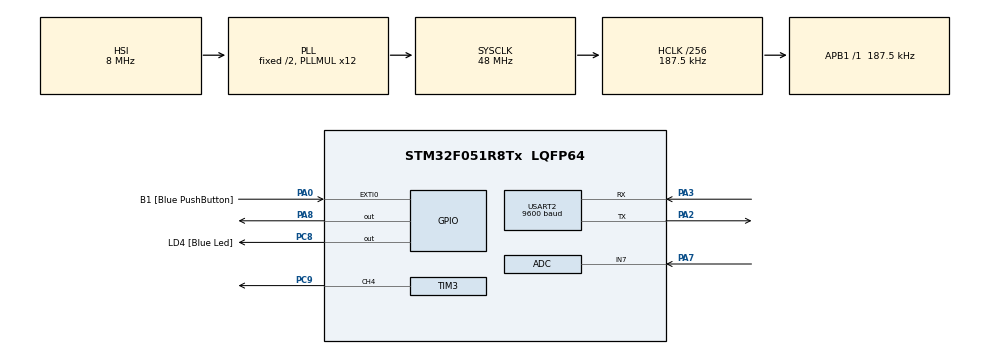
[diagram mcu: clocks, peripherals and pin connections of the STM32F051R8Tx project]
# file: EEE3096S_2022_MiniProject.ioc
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Dma.ADC.1.Direction=DMA_PERIPH_TO_MEMORY
Dma.ADC.1.Instance=DMA1_Channel1
Dma.ADC.1.MemDataAlignment=DMA_MDATAALIGN_HALFWORD
Dma.ADC.1.MemInc=DMA_MINC_ENABLE
Dma.ADC.1.Mode=DMA_NORMAL
Dma.ADC.1.PeriphDataAlignment=DMA_PDATAALIGN_HALFWORD
Dma.ADC.1.PeriphInc=DMA_PINC_DISABLE
Dma.ADC.1.Priority=DMA_PRIORITY_LOW
Dma.Request0=USART2_TX
Dma.Request1=ADC
Dma.USART2_TX.0.Direction=DMA_MEMORY_TO_PERIPH
Dma.USART2_TX.0.Instance=DMA1_Channel4
Dma.USART2_TX.0.MemDataAlignment=DMA_MDATAALIGN_BYTE
Dma.USART2_TX.0.MemInc=DMA_MINC_ENABLE
Dma.USART2_TX.0.Mode=DMA_NORMAL
Dma.USART2_TX.0.PeriphDataAlignment=DMA_PDATAALIGN_BYTE
Dma.USART2_TX.0.PeriphInc=DMA_PINC_DISABLE
Dma.USART2_TX.0.Priority=DMA_PRIORITY_LOW
Mcu.Family=STM32F0
Mcu.Name=STM32F051R8Tx
Mcu.Package=LQFP64
NVIC.ADC1_COMP_IRQn=true\:0\:0\:false\:false\:true\:true\:true\:true
NVIC.DMA1_Channel1_IRQn=true\:0\:0\:false\:false\:true\:false\:true\:true
NVIC.DMA1_Channel4_5_IRQn=true\:0\:0\:false\:false\:true\:false\:true\:true
NVIC.EXTI0_1_IRQn=true\:0\:0\:false\:false\:true\:true\:true\:true
NVIC.USART2_IRQn=true\:0\:0\:false\:false\:true\:true\:true\:true
PA0.GPIO_Label=B1 [Blue PushButton]
PA0.GPIO_ModeDefaultEXTI=GPIO_MODE_IT_FALLING
PA0.Signal=GPXTI0
PA13.GPIO_Label=SWDIO
PA13.Mode=Serial_Wire
PA13.Signal=SYS_SWDIO
PA14.GPIO_Label=SWCLK
PA14.Mode=Serial_Wire
PA14.Signal=SYS_SWCLK
PA2.Mode=Asynchronous
PA2.Signal=USART2_TX
PA3.Mode=Asynchronous
PA3.Signal=USART2_RX
PA7.Mode=IN7
PA7.Signal=ADC_IN7
PA8.Signal=GPIO_Output
PB6.Signal=I2C1_SCL
PB7.Signal=I2C1_SDA
PC8.GPIO_Label=LD4 [Blue Led]
PC8.Signal=GPIO_Output
PC9.Signal=S_TIM3_CH4
PF0-OSC_IN.Mode=HSE-External-Oscillator
PF0-OSC_IN.Signal=RCC_OSC_IN
PF1-OSC_OUT.Mode=HSE-External-Oscillator
PF1-OSC_OUT.Signal=RCC_OSC_OUT
ProjectManager.HeapSize=0x200
ProjectManager.StackSize=0x400
ProjectManager.TargetToolchain=STM32CubeIDE
RCC.AHBCLKDivider=RCC_SYSCLK_DIV256
RCC.AHBFreq_Value=187500
RCC.APB1Freq_Value=187500
RCC.APB1TimFreq_Value=187500
RCC.HCLKFreq_Value=187500
RCC.PLLMUL=RCC_PLL_MUL12
RCC.SYSCLKFreq_VALUE=48000000
RCC.SYSCLKSource=RCC_SYSCLKSOURCE_PLLCLK
SH.S_TIM3_CH4.0=TIM3_CH4,PWM Generation4 CH4
TIM3.AutoReloadPreload=TIM_AUTORELOAD_PRELOAD_ENABLE
TIM3.Channel-PWM\ Generation4\ CH4=TIM_CHANNEL_4
TIM3.Period=47999
USART2.BaudRate=9600
USART2.VirtualMode-Asynchronous=VM_ASYNC
VP_TIM3_VS_ClockSourceINT.Mode=Internal
board=STM32F0DISCOVERY

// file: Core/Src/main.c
/* USER CODE BEGIN Header */
/**
*******************************************************
Info:		EEE3096S Mini Project Part A 2022
Author:		Ryan Jones, Natasha Soldin, Kamryn Norton, Khavish Govind
*******************************************************
In this practical you will learn to use the ADC on the STM32 using the HAL.
Here, we will be measuring the voltage on a potentiometer and using its value
to adjust the brightness of the on board LEDs. We set up an interrupt to switch the
display between the blue and green LEDs.

Code is also provided to send data from the STM32 to other devices using UART protocol
by using HAL. You will need Putty or a Python script to read from the serial port on your PC.

UART Connections are as follows: 5V->5V GND->GND RXD->PA2 TXD->PA3(unused).
Open device manager and go to Ports. Plug in the USB connector with the STM powered on.
Check the port number (COMx). Open up Putty and create a new Serial session on that COMx
with baud rate of 9600.
  ******************************************************************************
  */
/* USER CODE END Header */
#include "main.h"

 ADC_HandleTypeDef hadc;
DMA_HandleTypeDef hdma_adc;

TIM_HandleTypeDef htim3;

UART_HandleTypeDef huart2;
DMA_HandleTypeDef hdma_usart2_tx;

/* USER CODE BEGIN PV */
char buffer[24];

//TO DO:
//TASK 1
//Create global variables for debouncing and delay interval
int DELAY1 = 66; //Set initial delay to 1000ms = 1s
int DELAY2 = 2003;
int freq = 1;

/* USER CODE END PV */

void SystemClock_Config(void);
static void MX_GPIO_Init(void);
static void MX_DMA_Init(void);
static void MX_USART2_UART_Init(void);
static void MX_ADC_Init(void);
static void MX_TIM3_Init(void);
/* USER CODE BEGIN PFP */
void EXTI0_1_IRQHandler(void);
void pause_sec(float x);
uint32_t pollADC(void);
uint32_t ADCtoCRR(uint32_t adc_val);
uint8_t decToBcd(uint32_t val);
void setLEDonReceive(char num);

/* USER CODE END PFP */

int main(void)
{

  /* MCU Configuration--------------------------------------------------------*/

  /* Reset of all peripherals, Initializes the Flash interface and the Systick. */
  HAL_Init();

  /* Configure the system clock */
  SystemClock_Config();

  /* Initialize all configured peripherals */
  MX_GPIO_Init();
  MX_DMA_Init();
  MX_USART2_UART_Init();
  MX_ADC_Init();
  MX_TIM3_Init();
  /* USER CODE BEGIN 2 */

  //Create variables needed in while loop

  HAL_TIM_PWM_Start(&htim3, TIM_CHANNEL_4); //Start the PWM on TIM3 Channel 4 (Green LED)
  /* USER CODE END 2 */

  /* Infinite loop */
  /* USER CODE BEGIN WHILE */
  while (1)
  {

	  //Test the pollADC function and display it via UART
	  //ADC has a maximum value of 4095, which is a resolution of 12 bits
	  //pause_sec(2);
	  sprintf(buffer, "%ld\n\r",pollADC());
	  HAL_UART_Transmit(&huart2, buffer, sizeof(buffer), 1000);

	  sprintf(buffer, "%ld\n\r",decToBcd(pollADC()));
	  HAL_UART_Transmit(&huart2, buffer, sizeof(buffer), 1000);

	  //setting data in
	  //char datain = '1';
	  setLEDonReceive('1');
	  HAL_Delay(500); //delay 500ms

    /* USER CODE END WHILE */

  }
}

void SystemClock_Config(void)
{
  RCC_OscInitTypeDef RCC_OscInitStruct = {0};
  RCC_ClkInitTypeDef RCC_ClkInitStruct = {0};

  /** Initializes the RCC Oscillators according to the specified parameters
  * in the RCC_OscInitTypeDef structure.
  */
  RCC_OscInitStruct.OscillatorType = RCC_OSCILLATORTYPE_HSI|RCC_OSCILLATORTYPE_HSI14;
  RCC_OscInitStruct.HSIState = RCC_HSI_ON;
  RCC_OscInitStruct.HSI14State = RCC_HSI14_ON;
  RCC_OscInitStruct.HSICalibrationValue = RCC_HSICALIBRATION_DEFAULT;
  RCC_OscInitStruct.HSI14CalibrationValue = 16;
  RCC_OscInitStruct.PLL.PLLState = RCC_PLL_ON;
  RCC_OscInitStruct.PLL.PLLSource = RCC_PLLSOURCE_HSI;
  RCC_OscInitStruct.PLL.PLLMUL = RCC_PLL_MUL12;
  RCC_OscInitStruct.PLL.PREDIV = RCC_PREDIV_DIV1;
  if (HAL_RCC_OscConfig(&RCC_OscInitStruct) != HAL_OK)
  {
    Error_Handler();
  }

  /** Initializes the CPU, AHB and APB buses clocks
  */
  RCC_ClkInitStruct.ClockType = RCC_CLOCKTYPE_HCLK|RCC_CLOCKTYPE_SYSCLK
                              |RCC_CLOCKTYPE_PCLK1;
  RCC_ClkInitStruct.SYSCLKSource = RCC_SYSCLKSOURCE_PLLCLK;
  RCC_ClkInitStruct.AHBCLKDivider = RCC_SYSCLK_DIV256;
  RCC_ClkInitStruct.APB1CLKDivider = RCC_HCLK_DIV1;

  if (HAL_RCC_ClockConfig(&RCC_ClkInitStruct, FLASH_LATENCY_1) != HAL_OK)
  {
    Error_Handler();
  }
}

static void MX_ADC_Init(void)
{

  ADC_ChannelConfTypeDef sConfig = {0};

  /** Configure the global features of the ADC (Clock, Resolution, Data Alignment and number of conversion)
  */
  hadc.Instance = ADC1;
  hadc.Init.ClockPrescaler = ADC_CLOCK_ASYNC_DIV1;
  hadc.Init.Resolution = ADC_RESOLUTION_12B;
  hadc.Init.DataAlign = ADC_DATAALIGN_RIGHT;
  hadc.Init.ScanConvMode = ADC_SCAN_DIRECTION_FORWARD;
  hadc.Init.EOCSelection = ADC_EOC_SINGLE_CONV;
  hadc.Init.LowPowerAutoWait = DISABLE;
  hadc.Init.LowPowerAutoPowerOff = DISABLE;
  hadc.Init.ContinuousConvMode = DISABLE;
  hadc.Init.DiscontinuousConvMode = DISABLE;
  hadc.Init.ExternalTrigConv = ADC_SOFTWARE_START;
  hadc.Init.ExternalTrigConvEdge = ADC_EXTERNALTRIGCONVEDGE_NONE;
  hadc.Init.DMAContinuousRequests = DISABLE;
  hadc.Init.Overrun = ADC_OVR_DATA_PRESERVED;
  if (HAL_ADC_Init(&hadc) != HAL_OK)
  {
    Error_Handler();
  }

  /** Configure for the selected ADC regular channel to be converted.
  */
  sConfig.Channel = ADC_CHANNEL_7;
  sConfig.Rank = ADC_RANK_CHANNEL_NUMBER;
  sConfig.SamplingTime = ADC_SAMPLETIME_1CYCLE_5;
  if (HAL_ADC_ConfigChannel(&hadc, &sConfig) != HAL_OK)
  {
    Error_Handler();
  }

}

static void MX_TIM3_Init(void)
{

  TIM_ClockConfigTypeDef sClockSourceConfig = {0};
  TIM_MasterConfigTypeDef sMasterConfig = {0};
  TIM_OC_InitTypeDef sConfigOC = {0};

  htim3.Instance = TIM3;
  htim3.Init.Prescaler = 0;
  htim3.Init.CounterMode = TIM_COUNTERMODE_UP;
  htim3.Init.Period = 47999;
  htim3.Init.ClockDivision = TIM_CLOCKDIVISION_DIV1;
  htim3.Init.AutoReloadPreload = TIM_AUTORELOAD_PRELOAD_ENABLE;
  if (HAL_TIM_Base_Init(&htim3) != HAL_OK)
  {
    Error_Handler();
  }
  sClockSourceConfig.ClockSource = TIM_CLOCKSOURCE_INTERNAL;
  if (HAL_TIM_ConfigClockSource(&htim3, &sClockSourceConfig) != HAL_OK)
  {
    Error_Handler();
  }
  if (HAL_TIM_PWM_Init(&htim3) != HAL_OK)
  {
    Error_Handler();
  }
  sMasterConfig.MasterOutputTrigger = TIM_TRGO_RESET;
  sMasterConfig.MasterSlaveMode = TIM_MASTERSLAVEMODE_DISABLE;
  if (HAL_TIMEx_MasterConfigSynchronization(&htim3, &sMasterConfig) != HAL_OK)
  {
    Error_Handler();
  }
  sConfigOC.OCMode = TIM_OCMODE_PWM1;
  sConfigOC.Pulse = 0;
  sConfigOC.OCPolarity = TIM_OCPOLARITY_HIGH;
  sConfigOC.OCFastMode = TIM_OCFAST_DISABLE;
  if (HAL_TIM_PWM_ConfigChannel(&htim3, &sConfigOC, TIM_CHANNEL_4) != HAL_OK)
  {
    Error_Handler();
  }
  HAL_TIM_MspPostInit(&htim3);

}

static void MX_USART2_UART_Init(void)
{

  huart2.Instance = USART2;
  huart2.Init.BaudRate = 9600;
  huart2.Init.WordLength = UART_WORDLENGTH_8B;
  huart2.Init.StopBits = UART_STOPBITS_1;
  huart2.Init.Parity = UART_PARITY_NONE;
  huart2.Init.Mode = UART_MODE_TX_RX;
  huart2.Init.HwFlowCtl = UART_HWCONTROL_NONE;
  huart2.Init.OverSampling = UART_OVERSAMPLING_16;
  huart2.Init.OneBitSampling = UART_ONE_BIT_SAMPLE_DISABLE;
  huart2.AdvancedInit.AdvFeatureInit = UART_ADVFEATURE_NO_INIT;
  if (HAL_UART_Init(&huart2) != HAL_OK)
  {
    Error_Handler();
  }

}

static void MX_DMA_Init(void)
{

  /* DMA controller clock enable */
  __HAL_RCC_DMA1_CLK_ENABLE();

  /* DMA interrupt init */
  /* DMA1_Channel1_IRQn interrupt configuration */
  HAL_NVIC_SetPriority(DMA1_Channel1_IRQn, 0, 0);
  HAL_NVIC_EnableIRQ(DMA1_Channel1_IRQn);
  /* DMA1_Channel4_5_IRQn interrupt configuration */
  HAL_NVIC_SetPriority(DMA1_Channel4_5_IRQn, 0, 0);
  HAL_NVIC_EnableIRQ(DMA1_Channel4_5_IRQn);

}

static void MX_GPIO_Init(void)
{
  GPIO_InitTypeDef GPIO_InitStruct = {0};

  /* GPIO Ports Clock Enable */
  __HAL_RCC_GPIOF_CLK_ENABLE();
  __HAL_RCC_GPIOA_CLK_ENABLE();
  __HAL_RCC_GPIOC_CLK_ENABLE();
  __HAL_RCC_GPIOB_CLK_ENABLE();

  /*Configure GPIO pin Output Level */
  HAL_GPIO_WritePin(LD4_GPIO_Port, LD4_Pin, GPIO_PIN_RESET);

  /*Configure GPIO pin Output Level */
  HAL_GPIO_WritePin(GPIOA, GPIO_PIN_8, GPIO_PIN_RESET);

  /*Configure GPIO pin : B1_Pin */
  GPIO_InitStruct.Pin = B1_Pin;
  GPIO_InitStruct.Mode = GPIO_MODE_IT_FALLING;
  GPIO_InitStruct.Pull = GPIO_NOPULL;
  HAL_GPIO_Init(B1_GPIO_Port, &GPIO_InitStruct);

  /*Configure GPIO pin : LD4_Pin */
  GPIO_InitStruct.Pin = LD4_Pin;
  GPIO_InitStruct.Mode = GPIO_MODE_OUTPUT_PP;
  GPIO_InitStruct.Pull = GPIO_NOPULL;
  GPIO_InitStruct.Speed = GPIO_SPEED_FREQ_LOW;
  HAL_GPIO_Init(LD4_GPIO_Port, &GPIO_InitStruct);

  /*Configure GPIO pin : PA8 */
  GPIO_InitStruct.Pin = GPIO_PIN_8;
  GPIO_InitStruct.Mode = GPIO_MODE_OUTPUT_PP;
  GPIO_InitStruct.Pull = GPIO_NOPULL;
  GPIO_InitStruct.Speed = GPIO_SPEED_FREQ_LOW;
  HAL_GPIO_Init(GPIOA, &GPIO_InitStruct);

  /*Configure GPIO pins : PB6 PB7 */
  GPIO_InitStruct.Pin = GPIO_PIN_6|GPIO_PIN_7;
  GPIO_InitStruct.Mode = GPIO_MODE_AF_OD;
  GPIO_InitStruct.Pull = GPIO_NOPULL;
  GPIO_InitStruct.Speed = GPIO_SPEED_FREQ_HIGH;
  GPIO_InitStruct.Alternate = GPIO_AF1_I2C1;
  HAL_GPIO_Init(GPIOB, &GPIO_InitStruct);

  /* EXTI interrupt init*/
  HAL_NVIC_SetPriority(EXTI0_1_IRQn, 0, 0);
  HAL_NVIC_EnableIRQ(EXTI0_1_IRQn);

}

/* USER CODE BEGIN 4 */

uint32_t pollADC(void){

	//TASK 1
	HAL_ADC_Start(&hadc); //Start the ADC

	HAL_ADC_PollForConversion(&hadc, 1); //Poll for conversion

	uint32_t adc_val = HAL_ADC_GetValue(&hadc); //Get the ADC value

	HAL_ADC_Stop(&hadc); //Stop ADC

	return adc_val; //Return the ADC Value

	// Code referenced from: https://controllerstech.com/stm32-adc-single-channel/
}

uint32_t ADCtoCRR(uint32_t adc_val){

	//TASK 2
	int CRR = 4095;

		if (adc_val<=4095)
		{
			CRR = (adc_val*47999)/4095;
		}

		return CRR;
}

void pause_sec(float x)
{
	//Delay program execution for x seconds
	int todo = 0;
	for (int i = 0;i<DELAY1;i++)
	{
		for (int j =0 ;j<DELAY2*x;j++)
		{
			todo ++;
		}
	}

}

uint8_t decToBcd(uint32_t val)
{
	//Convert decimal numbers to binary coded decimal

		return (uint8_t)((val/10*16) + (val%10));
}

void setLEDonReceive(char num)
{
	int numInt = (int)num;
	//Convert a char from the message received into an output on the LED
	if(num == 49) //49 is ascii for 1
	{
		HAL_GPIO_WritePin(GPIOC, GPIO_PIN_8, GPIO_PIN_SET); //LED on if 1
	}
	else if(num == 48) //48 is ascii for 0
	{
		HAL_GPIO_WritePin(GPIOC, GPIO_PIN_8, GPIO_PIN_RESET); //LED off if 0
	}

}

/* USER CODE END 4 */

void Error_Handler(void)
{
  __disable_irq();
  while (1)
  {
  }
}
